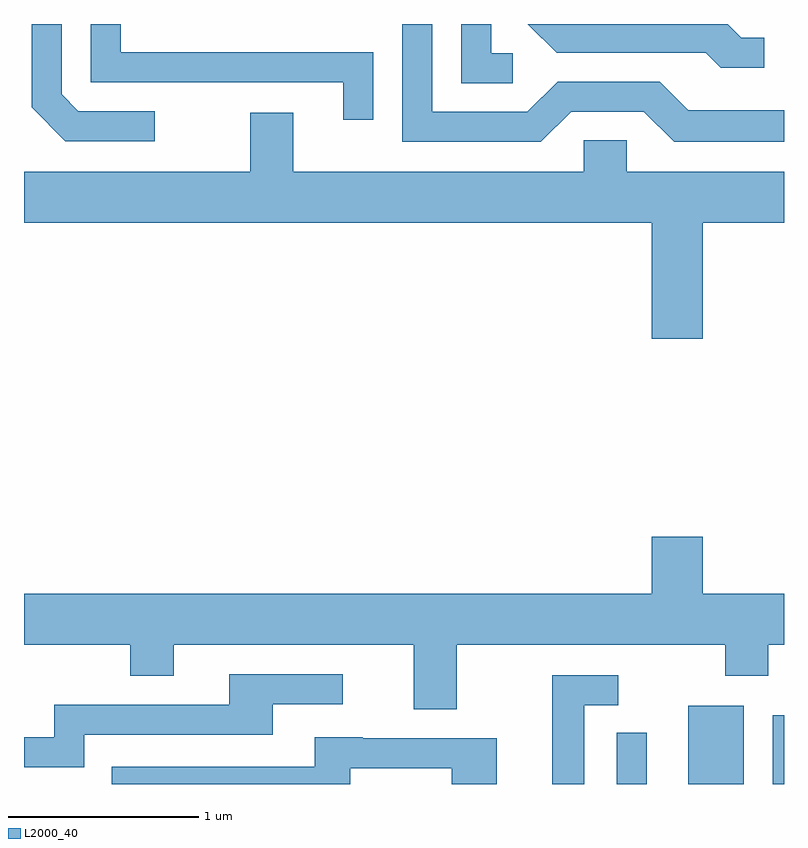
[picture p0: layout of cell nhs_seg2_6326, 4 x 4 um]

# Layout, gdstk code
import gdstk
lib = gdstk.Library(unit=1e-6, precision=1e-09)
def R(c, l, rs):  # rectangles x0, y0, x1, y1
    for r in rs: c.add(gdstk.rectangle(r[:2], r[2:], *l))
def P(c, l, *ps):  # polygons
    for p in ps: c.add(gdstk.Polygon(p, *l))
L2000_40 = (2000, 40)

nhs_seg2_6326 = lib.new_cell('nhs_seg2_6326')
R(nhs_seg2_6326, L2000_40, [(374.731,1049.802,374.889,1050.073), (375.106,1049.802,375.399,1050.214), (375.551,1049.802,375.611,1050.164)])
P(nhs_seg2_6326, L2000_40, [(373.449,1053.654),(372.119,1053.654),(372.119,1053.802),(371.961,1053.802),(371.961,1053.496),(373.291,1053.496),(373.291,1053.298),(373.449,1053.298)],
  [(372.298,1053.344),(371.897,1053.344),(371.809,1053.432),(371.809,1053.802),(371.651,1053.802),(371.651,1053.364),(371.829,1053.186),(372.298,1053.186)],
  [(375.508,1053.729),(375.387,1053.729),(375.314,1053.802),(374.263,1053.802),(374.414,1053.651),(375.199,1053.651),(375.279,1053.571),(375.508,1053.571)],
  [(374.492,1053.341),(374.874,1053.341),(375.034,1053.181),(375.611,1053.181),(375.611,1053.349),(375.107,1053.349),(374.957,1053.499),(374.419,1053.499),(374.259,1053.339),(373.759,1053.339),(373.759,1053.802),(373.601,1053.802),(373.601,1053.181),(374.332,1053.181)],
  [(374.183,1053.649),(374.069,1053.649),(374.069,1053.802),(373.911,1053.802),(373.911,1053.491),(374.183,1053.491)],
  [(375.184,1052.756),(375.611,1052.756),(375.611,1053.024),(374.784,1053.024),(374.784,1053.189),(374.556,1053.189),(374.556,1053.024),(373.029,1053.024),(373.029,1053.334),(372.801,1053.334),(372.801,1053.024),(371.611,1053.024),(371.611,1052.756),(374.916,1052.756),(374.916,1052.146),(375.184,1052.146)],
  [(373.889,1050.536),(375.301,1050.536),(375.301,1050.371),(375.529,1050.371),(375.529,1050.536),(375.611,1050.536),(375.611,1050.804),(375.184,1050.804),(375.184,1051.104),(374.916,1051.104),(374.916,1050.804),(371.611,1050.804),(371.611,1050.536),(372.171,1050.536),(372.171,1050.371),(372.399,1050.371),(372.399,1050.536),(373.661,1050.536),(373.661,1050.196),(373.889,1050.196)],
  [(371.929,1050.061),(372.919,1050.061),(372.919,1050.221),(373.288,1050.221),(373.288,1050.379),(372.691,1050.379),(372.691,1050.219),(371.771,1050.219),(371.771,1050.049),(371.611,1050.049),(371.611,1049.891),(371.929,1049.891)],
  [(374.559,1050.216),(374.738,1050.216),(374.738,1050.374),(374.391,1050.374),(374.391,1049.802),(374.559,1049.802)],
  [(373.329,1049.886),(373.861,1049.886),(373.861,1049.802),(374.099,1049.802),(374.099,1050.044),(373.395,1050.044),(373.395,1050.049),(373.141,1050.049),(373.141,1049.894),(372.073,1049.894),(372.073,1049.802),(373.329,1049.802)])

lib.write_gds('nhs_seg2_6326.gds')
